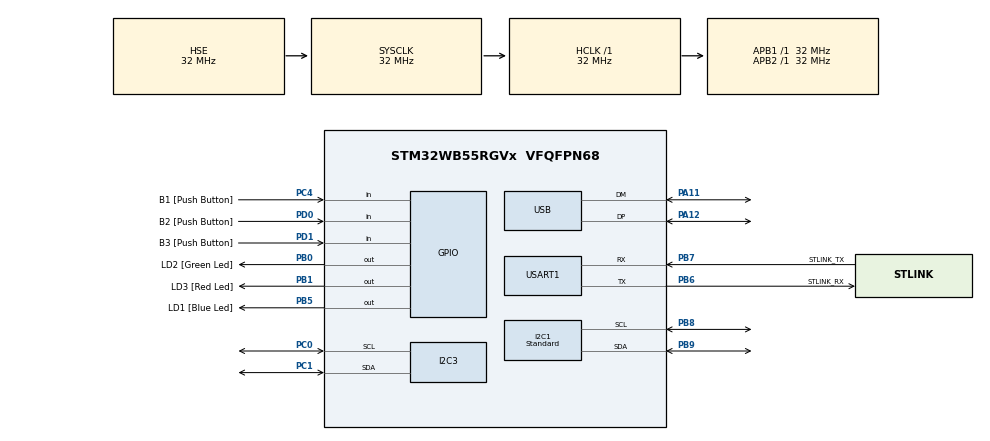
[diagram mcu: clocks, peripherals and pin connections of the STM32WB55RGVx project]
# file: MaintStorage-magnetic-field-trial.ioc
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I2C1.GeneralCallMode=I2C_GENERALCALL_DISABLE
I2C1.I2C_Speed_Mode=I2C_Standard
I2C1.Timing=0x00707CBB
I2C3.Timing=0x00707CBB
Mcu.Family=STM32WB
Mcu.Name=STM32WB55RGVx
Mcu.Package=VFQFPN68
NVIC.PriorityGroup=NVIC_PRIORITYGROUP_4
NVIC.TIM2_IRQn=true\:0\:0\:false\:false\:true\:true\:true\:true
OSC_IN.Mode=HSE-External-Oscillator
OSC_IN.Signal=RCC_OSC_IN
OSC_OUT.Mode=HSE-External-Oscillator
OSC_OUT.Signal=RCC_OSC_OUT
PA11.Mode=Device
PA11.Signal=USB_DM
PA12.Mode=Device
PA12.Signal=USB_DP
PA13.GPIO_Label=JTMS
PA13.Mode=Trace_Asynchronous_SW
PA13.Signal=SYS_JTMS-SWDIO
PA14.GPIO_Label=JTCK
PA14.Mode=Trace_Asynchronous_SW
PA14.Signal=SYS_JTCK-SWCLK
PB0.GPIO_Label=LD2 [Green Led]
PB0.Signal=GPIO_Output
PB1.GPIO_Label=LD3 [Red Led]
PB1.Signal=GPIO_Output
PB3.GPIO_Label=JTDO
PB3.Mode=Trace_Asynchronous_SW
PB3.Signal=SYS_JTDO-SWO
PB5.GPIO_Label=LD1 [Blue Led]
PB5.Signal=GPIO_Output
PB6.GPIO_Label=STLINK_RX
PB6.GPIO_PuPd=GPIO_PULLUP
PB6.Mode=Asynchronous
PB6.Signal=USART1_TX
PB7.GPIO_Label=STLINK_TX
PB7.GPIO_PuPd=GPIO_PULLUP
PB7.Mode=Asynchronous
PB7.Signal=USART1_RX
PB8.Mode=I2C
PB8.Signal=I2C1_SCL
PB9.Mode=I2C
PB9.Signal=I2C1_SDA
PC0.Mode=I2C
PC0.Signal=I2C3_SCL
PC1.Mode=I2C
PC1.Signal=I2C3_SDA
PC13.Mode=SYS_WakeUp1
PC13.Signal=SYS_WKUP2
PC14-OSC32_IN.Mode=LSE-External-Oscillator
PC14-OSC32_IN.Signal=RCC_OSC32_IN
PC15-OSC32_OUT.Mode=LSE-External-Oscillator
PC15-OSC32_OUT.Signal=RCC_OSC32_OUT
PC4.GPIO_Label=B1 [Push Button]
PC4.Signal=GPIO_Input
PD0.GPIO_Label=B2 [Push Button]
PD0.Signal=GPIO_Input
PD1.GPIO_Label=B3 [Push Button]
PD1.Signal=GPIO_Input
ProjectManager.HeapSize=0x200
ProjectManager.StackSize=0x400
ProjectManager.TargetToolchain=STM32CubeIDE
RCC.ADCFreq_Value=48000000
RCC.AHBFreq_Value=32000000
RCC.APB1Freq_Value=32000000
RCC.APB1TimFreq_Value=32000000
RCC.APB2Freq_Value=32000000
RCC.APB2TimFreq_Value=32000000
RCC.APB3Freq_Value=16000000
RCC.CortexFreq_Value=32000000
RCC.HCLKFreq_Value=32000000
RCC.HSE_VALUE=32000000
RCC.HSI48_VALUE=48000000
RCC.HSI_VALUE=16000000
RCC.LSE_Drive_Capability=RCC_LSEDRIVE_LOW
RCC.PLLN=32
RCC.PLLSAI1N=24
RCC.SMPSCLockSelectionVirtual=RCC_SMPSCLKSOURCE_HSI
RCC.SMPSCLockSelectionVirtualVirtual=RCC_SMPSCLKSOURCE_HSI
RCC.SMPSDivider=1
RCC.SYSCLKFreq_VALUE=32000000
RCC.SYSCLKSource=RCC_SYSCLKSOURCE_HSE
RCC.USBFreq_Value=48000000
RCC.VCOOutputFreq_Value=128000000
TIM2.AutoReloadPreload=TIM_AUTORELOAD_PRELOAD_ENABLE
TIM2.Period=10000
TIM2.Prescaler=31
USART1.VirtualMode-Asynchronous=VM_ASYNC
USART1.WordLength=WORDLENGTH_7B
VP_MEMORYMAP_VS_MEMORYMAP.Mode=CurAppReg
VP_TIM2_VS_ClockSourceINT.Mode=Internal
board=NUCLEO-WB55RG

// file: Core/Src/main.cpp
/* USER CODE BEGIN Header */
/**
 ******************************************************************************
 * @file           : main.c
 * @brief          : Main program body
 ******************************************************************************
 * @attention
 *
 * Copyright (c) 2024 STMicroelectronics.
 * All rights reserved.
 *
 * This software is licensed under terms that can be found in the LICENSE file
 * in the root directory of this software component.
 * If no LICENSE file comes with this software, it is provided AS-IS.
 *
 ******************************************************************************
 */
/* USER CODE END Header */
#include "main.hpp"

I2C_HandleTypeDef hi2c1;
I2C_HandleTypeDef hi2c3;

TIM_HandleTypeDef htim2;

UART_HandleTypeDef huart1;

PCD_HandleTypeDef hpcd_USB_FS;

void SystemClock_Config(void);
void PeriphCommonClock_Config(void);
static void MX_GPIO_Init(void);
static void MX_USART1_UART_Init(void);
static void MX_USB_PCD_Init(void);
static void MX_MEMORYMAP_Init(void);
static void MX_I2C1_Init(void);
static void MX_TIM2_Init(void);
static void MX_I2C3_Init(void);

/* USER CODE BEGIN 0 */

static bool DataAcquisitionFlag = false;
static char StringToTransmit[100];
static uint32_t CurTimeStamp;

static HAL_StatusTypeDef UART_Transmit(float anchor_0_reading,
				float anchor_1_reading, float anchor_2_reading, float anchor_3_reading, float anchor_4_reading) {
	// Prepare data into the transmission string
	int numChars = snprintf(StringToTransmit, sizeof(StringToTransmit),
					"%f, %f, %f, %f, %f\r\n", anchor_0_reading, anchor_1_reading,
					anchor_2_reading, anchor_3_reading, anchor_4_reading);

	// Check if snprintf wrote successfully within buffer bounds
	if (numChars >= (int) sizeof(StringToTransmit) || numChars < 0) {
		// Handle error
		return HAL_ERROR;
	}

	// Call the peripheral function to execute the data transmission
	return HAL_UART_Transmit(&huart1, (uint8_t*) StringToTransmit,
					strlen((char*) StringToTransmit),
					HAL_MAX_DELAY);
}

static HAL_StatusTypeDef UART_Transmit_Begin(float anchor_0_reading,
				float anchor_1_reading, float anchor_2_reading, float anchor_3_reading, float anchor_4_reading) {
	// Prepare data into the transmission string
	int numChars = snprintf(StringToTransmit, sizeof(StringToTransmit),
					"\r\n%f, %f, %f, %f, %f\r\n", anchor_0_reading, anchor_1_reading,
					anchor_2_reading, anchor_3_reading, anchor_4_reading);

	// Check if snprintf wrote successfully within buffer bounds
	if (numChars >= (int) sizeof(StringToTransmit) || numChars < 0) {
		// Handle error
		return HAL_ERROR;
	}

	// Call the peripheral function to execute the data transmission
	return HAL_UART_Transmit(&huart1, (uint8_t*) StringToTransmit,
					strlen((char*) StringToTransmit),
					HAL_MAX_DELAY);
}

void HAL_TIM_PeriodElapsedCallback(TIM_HandleTypeDef *htim) {

	if (htim == &htim2) {
		CurTimeStamp = HAL_GetTick();
		DataAcquisitionFlag = true;
	}
}

/* USER CODE END 0 */

int main(void) {

	/* MCU Configuration--------------------------------------------------------*/

	/* Reset of all peripherals, Initializes the Flash interface and the Systick. */
	HAL_Init();

	/* Configure the system clock */
	SystemClock_Config();

	/* Configure the peripherals common clocks */
	PeriphCommonClock_Config();

	/* Initialize all configured peripherals */
	MX_GPIO_Init();
	MX_USART1_UART_Init();
	MX_USB_PCD_Init();
	MX_MEMORYMAP_Init();
	MX_I2C1_Init();
	MX_TIM2_Init();
	MX_I2C3_Init();
	/* USER CODE BEGIN 2 */

	/**
	 * create sensor objects in hall_sensor.cpp
	 * since we are using 5 different sensors placed on different spots on the table
	 * (0.0, 0.0), (0.0, 50.5), (76.0, 50.5), (76.0, 0.0) => ADS1115_ADDR_STD
	 * (38.0, 25.25) => ADS1115_ADDR_GND
	 */

	// first ADC with STD address on I2C 1
	Sensor hallSensor_0_0 = Sensor(&hi2c1, ADS1115_ADDR_STD, ADS1115_MUX_AIN0,
	ADS1115_DATA_RATE_475, ADS1115_PGA_TWOTHIRDS);
	// second ADC with ADDR pin connected to VDD on I2C 1
	Sensor hallSensor_0_50_5 = Sensor(&hi2c1, ADS1115_ADDR_VDD,
	ADS1115_MUX_AIN0, ADS1115_DATA_RATE_475,
	ADS1115_PGA_TWOTHIRDS);
	// third ADC with ADDR pin connected to SDA on I2C 1
	Sensor hallSensor_38_25_25 = Sensor(&hi2c1, ADS1115_ADDR_SDA,
	ADS1115_MUX_AIN0, ADS1115_DATA_RATE_475,
	ADS1115_PGA_TWOTHIRDS);

	// fourth ADC with STD address on I2C 3
	Sensor hallSensor_76_0 = Sensor(&hi2c3, ADS1115_ADDR_STD, ADS1115_MUX_AIN0,
					ADS1115_DATA_RATE_475, ADS1115_PGA_TWOTHIRDS);
	// fifth ADS with ADDR pin connectede to VDD on I2C3
	Sensor hallSensor_76_50_5 = Sensor(&hi2c3, ADS1115_ADDR_VDD, ADS1115_MUX_AIN0,
					ADS1115_DATA_RATE_475, ADS1115_PGA_TWOTHIRDS);

	HAL_TIM_Base_Start_IT(&htim2);

	// mark the start timestamp of the program running
//	UART_Transmit_Begin(0.0f, 0.0f, 0.0f, 0.0f, 0.0f);

	/* USER CODE END 2 */

	/* Infinite loop */
	/* USER CODE BEGIN WHILE */

//	uint32_t transmit_indx = 0;

	while (1) {

		if (DataAcquisitionFlag) {

			hallSensor_0_0.Update();
			hallSensor_0_50_5.Update();
			hallSensor_38_25_25.Update();
			hallSensor_76_0.Update();
			hallSensor_76_50_5.Update();

			DataAcquisitionFlag = false;

			UART_Transmit(hallSensor_0_0.ReportReading(),
							hallSensor_0_50_5.ReportReading(),
							hallSensor_38_25_25.ReportReading(),
							hallSensor_76_0.ReportReading(),
							hallSensor_76_50_5.ReportReading());

		// increment the transmit index
//		transmit_indx++;
		}
//
//		if (transmit_indx >=70) {
//			// mark the stop by sending 0.0f, 0.0f, 0.0f, 0.0f, 0.0f
//			UART_Transmit(0.0f, 0.0f, 0.0f, 0.0f, 0.0f);
//			// reset transmit_indx to 0
//			transmit_indx = 0;
//
//
//		}

		/* USER CODE END WHILE */

	}
}

void SystemClock_Config(void) {
	RCC_OscInitTypeDef RCC_OscInitStruct = { 0 };
	RCC_ClkInitTypeDef RCC_ClkInitStruct = { 0 };

	/** Macro to configure the PLL multiplication factor
	 */
	__HAL_RCC_PLL_PLLM_CONFIG(RCC_PLLM_DIV1);

	/** Macro to configure the PLL clock source
	 */
	__HAL_RCC_PLL_PLLSOURCE_CONFIG(RCC_PLLSOURCE_MSI);

	/** Configure LSE Drive Capability
	 */
	HAL_PWR_EnableBkUpAccess();
	__HAL_RCC_LSEDRIVE_CONFIG(RCC_LSEDRIVE_LOW);

	/** Configure the main internal regulator output voltage
	 */
	__HAL_PWR_VOLTAGESCALING_CONFIG(PWR_REGULATOR_VOLTAGE_SCALE1);

	/** Initializes the RCC Oscillators according to the specified parameters
	 * in the RCC_OscInitTypeDef structure.
	 */
	RCC_OscInitStruct.OscillatorType = RCC_OSCILLATORTYPE_HSI
					| RCC_OSCILLATORTYPE_HSE | RCC_OSCILLATORTYPE_LSE
					| RCC_OSCILLATORTYPE_MSI;
	RCC_OscInitStruct.HSEState = RCC_HSE_ON;
	RCC_OscInitStruct.LSEState = RCC_LSE_ON;
	RCC_OscInitStruct.HSIState = RCC_HSI_ON;
	RCC_OscInitStruct.MSIState = RCC_MSI_ON;
	RCC_OscInitStruct.HSICalibrationValue = RCC_HSICALIBRATION_DEFAULT;
	RCC_OscInitStruct.MSICalibrationValue = RCC_MSICALIBRATION_DEFAULT;
	RCC_OscInitStruct.MSIClockRange = RCC_MSIRANGE_6;
	RCC_OscInitStruct.PLL.PLLState = RCC_PLL_NONE;
	if (HAL_RCC_OscConfig(&RCC_OscInitStruct) != HAL_OK) {
		Error_Handler();
	}

	/** Configure the SYSCLKSource, HCLK, PCLK1 and PCLK2 clocks dividers
	 */
	RCC_ClkInitStruct.ClockType = RCC_CLOCKTYPE_HCLK4 | RCC_CLOCKTYPE_HCLK2
					| RCC_CLOCKTYPE_HCLK | RCC_CLOCKTYPE_SYSCLK
					| RCC_CLOCKTYPE_PCLK1 | RCC_CLOCKTYPE_PCLK2;
	RCC_ClkInitStruct.SYSCLKSource = RCC_SYSCLKSOURCE_HSE;
	RCC_ClkInitStruct.AHBCLKDivider = RCC_SYSCLK_DIV1;
	RCC_ClkInitStruct.APB1CLKDivider = RCC_HCLK_DIV1;
	RCC_ClkInitStruct.APB2CLKDivider = RCC_HCLK_DIV1;
	RCC_ClkInitStruct.AHBCLK2Divider = RCC_SYSCLK_DIV1;
	RCC_ClkInitStruct.AHBCLK4Divider = RCC_SYSCLK_DIV1;

	if (HAL_RCC_ClockConfig(&RCC_ClkInitStruct, FLASH_LATENCY_1) != HAL_OK) {
		Error_Handler();
	}

	/** Enable MSI Auto calibration
	 */
	HAL_RCCEx_EnableMSIPLLMode();
}

void PeriphCommonClock_Config(void) {
	RCC_PeriphCLKInitTypeDef PeriphClkInitStruct = { 0 };

	/** Initializes the peripherals clock
	 */
	PeriphClkInitStruct.PeriphClockSelection = RCC_PERIPHCLK_SMPS;
	PeriphClkInitStruct.SmpsClockSelection = RCC_SMPSCLKSOURCE_HSI;
	PeriphClkInitStruct.SmpsDivSelection = RCC_SMPSCLKDIV_RANGE0;

	if (HAL_RCCEx_PeriphCLKConfig(&PeriphClkInitStruct) != HAL_OK) {
		Error_Handler();
	}
}

static void MX_I2C1_Init(void) {

	hi2c1.Instance = I2C1;
	hi2c1.Init.Timing = 0x00707CBB;
	hi2c1.Init.OwnAddress1 = 0;
	hi2c1.Init.AddressingMode = I2C_ADDRESSINGMODE_7BIT;
	hi2c1.Init.DualAddressMode = I2C_DUALADDRESS_DISABLE;
	hi2c1.Init.OwnAddress2 = 0;
	hi2c1.Init.OwnAddress2Masks = I2C_OA2_NOMASK;
	hi2c1.Init.GeneralCallMode = I2C_GENERALCALL_DISABLE;
	hi2c1.Init.NoStretchMode = I2C_NOSTRETCH_DISABLE;
	if (HAL_I2C_Init(&hi2c1) != HAL_OK) {
		Error_Handler();
	}

	/** Configure Analogue filter
	 */
	if (HAL_I2CEx_ConfigAnalogFilter(&hi2c1, I2C_ANALOGFILTER_ENABLE)
					!= HAL_OK) {
		Error_Handler();
	}

	/** Configure Digital filter
	 */
	if (HAL_I2CEx_ConfigDigitalFilter(&hi2c1, 0) != HAL_OK) {
		Error_Handler();
	}

}

static void MX_I2C3_Init(void) {

	hi2c3.Instance = I2C3;
	hi2c3.Init.Timing = 0x00707CBB;
	hi2c3.Init.OwnAddress1 = 0;
	hi2c3.Init.AddressingMode = I2C_ADDRESSINGMODE_7BIT;
	hi2c3.Init.DualAddressMode = I2C_DUALADDRESS_DISABLE;
	hi2c3.Init.OwnAddress2 = 0;
	hi2c3.Init.OwnAddress2Masks = I2C_OA2_NOMASK;
	hi2c3.Init.GeneralCallMode = I2C_GENERALCALL_DISABLE;
	hi2c3.Init.NoStretchMode = I2C_NOSTRETCH_DISABLE;
	if (HAL_I2C_Init(&hi2c3) != HAL_OK) {
		Error_Handler();
	}

	/** Configure Analogue filter
	 */
	if (HAL_I2CEx_ConfigAnalogFilter(&hi2c3, I2C_ANALOGFILTER_ENABLE)
					!= HAL_OK) {
		Error_Handler();
	}

	/** Configure Digital filter
	 */
	if (HAL_I2CEx_ConfigDigitalFilter(&hi2c3, 0) != HAL_OK) {
		Error_Handler();
	}

}

static void MX_MEMORYMAP_Init(void) {

}

static void MX_TIM2_Init(void) {

	TIM_ClockConfigTypeDef sClockSourceConfig = { 0 };
	TIM_MasterConfigTypeDef sMasterConfig = { 0 };

	htim2.Instance = TIM2;
	htim2.Init.Prescaler = 31;
	htim2.Init.CounterMode = TIM_COUNTERMODE_UP;
	htim2.Init.Period = 10000;
	htim2.Init.ClockDivision = TIM_CLOCKDIVISION_DIV1;
	htim2.Init.AutoReloadPreload = TIM_AUTORELOAD_PRELOAD_ENABLE;
	if (HAL_TIM_Base_Init(&htim2) != HAL_OK) {
		Error_Handler();
	}
	sClockSourceConfig.ClockSource = TIM_CLOCKSOURCE_INTERNAL;
	if (HAL_TIM_ConfigClockSource(&htim2, &sClockSourceConfig) != HAL_OK) {
		Error_Handler();
	}
	sMasterConfig.MasterOutputTrigger = TIM_TRGO_RESET;
	sMasterConfig.MasterSlaveMode = TIM_MASTERSLAVEMODE_DISABLE;
	if (HAL_TIMEx_MasterConfigSynchronization(&htim2, &sMasterConfig)
					!= HAL_OK) {
		Error_Handler();
	}

}

static void MX_USART1_UART_Init(void) {

	huart1.Instance = USART1;
	huart1.Init.BaudRate = 115200;
	huart1.Init.WordLength = UART_WORDLENGTH_8B;
	huart1.Init.StopBits = UART_STOPBITS_1;
	huart1.Init.Parity = UART_PARITY_NONE;
	huart1.Init.Mode = UART_MODE_TX_RX;
	huart1.Init.HwFlowCtl = UART_HWCONTROL_NONE;
	huart1.Init.OverSampling = UART_OVERSAMPLING_16;
	huart1.Init.OneBitSampling = UART_ONE_BIT_SAMPLE_DISABLE;
	huart1.Init.ClockPrescaler = UART_PRESCALER_DIV1;
	huart1.AdvancedInit.AdvFeatureInit = UART_ADVFEATURE_NO_INIT;
	if (HAL_UART_Init(&huart1) != HAL_OK) {
		Error_Handler();
	}
	if (HAL_UARTEx_SetTxFifoThreshold(&huart1, UART_TXFIFO_THRESHOLD_1_8)
					!= HAL_OK) {
		Error_Handler();
	}
	if (HAL_UARTEx_SetRxFifoThreshold(&huart1, UART_RXFIFO_THRESHOLD_1_8)
					!= HAL_OK) {
		Error_Handler();
	}
	if (HAL_UARTEx_DisableFifoMode(&huart1) != HAL_OK) {
		Error_Handler();
	}

}

static void MX_USB_PCD_Init(void) {

	hpcd_USB_FS.Instance = USB;
	hpcd_USB_FS.Init.dev_endpoints = 8;
	hpcd_USB_FS.Init.speed = PCD_SPEED_FULL;
	hpcd_USB_FS.Init.phy_itface = PCD_PHY_EMBEDDED;
	hpcd_USB_FS.Init.Sof_enable = DISABLE;
	hpcd_USB_FS.Init.low_power_enable = DISABLE;
	hpcd_USB_FS.Init.lpm_enable = DISABLE;
	hpcd_USB_FS.Init.battery_charging_enable = DISABLE;
	if (HAL_PCD_Init(&hpcd_USB_FS) != HAL_OK) {
		Error_Handler();
	}

}

static void MX_GPIO_Init(void) {
	GPIO_InitTypeDef GPIO_InitStruct = { 0 };

	/* GPIO Ports Clock Enable */
	__HAL_RCC_GPIOC_CLK_ENABLE();
	__HAL_RCC_GPIOB_CLK_ENABLE();
	__HAL_RCC_GPIOA_CLK_ENABLE();
	__HAL_RCC_GPIOD_CLK_ENABLE();

	/*Configure GPIO pin Output Level */
	HAL_GPIO_WritePin(GPIOB, LD2_Pin | LD3_Pin | LD1_Pin, GPIO_PIN_RESET);

	/*Configure GPIO pin : B1_Pin */
	GPIO_InitStruct.Pin = B1_Pin;
	GPIO_InitStruct.Mode = GPIO_MODE_INPUT;
	GPIO_InitStruct.Pull = GPIO_NOPULL;
	HAL_GPIO_Init(B1_GPIO_Port, &GPIO_InitStruct);

	/*Configure GPIO pins : LD2_Pin LD3_Pin LD1_Pin */
	GPIO_InitStruct.Pin = LD2_Pin | LD3_Pin | LD1_Pin;
	GPIO_InitStruct.Mode = GPIO_MODE_OUTPUT_PP;
	GPIO_InitStruct.Pull = GPIO_NOPULL;
	GPIO_InitStruct.Speed = GPIO_SPEED_FREQ_LOW;
	HAL_GPIO_Init(GPIOB, &GPIO_InitStruct);

	/*Configure GPIO pins : B2_Pin B3_Pin */
	GPIO_InitStruct.Pin = B2_Pin | B3_Pin;
	GPIO_InitStruct.Mode = GPIO_MODE_INPUT;
	GPIO_InitStruct.Pull = GPIO_NOPULL;
	HAL_GPIO_Init(GPIOD, &GPIO_InitStruct);

}

void Error_Handler(void) {
	__disable_irq();
	while (1) {
	}
}
